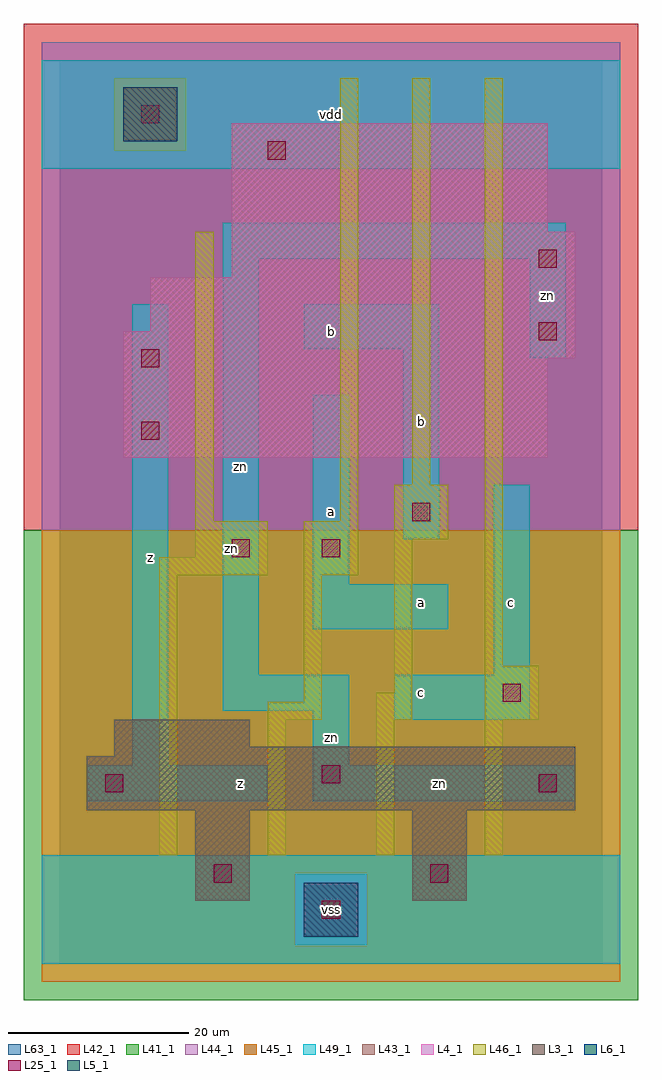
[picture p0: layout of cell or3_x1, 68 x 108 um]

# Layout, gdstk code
import gdstk
lib = gdstk.Library(unit=1e-6, precision=1e-09)
def R(c, l, rs):  # rectangles x0, y0, x1, y1
    for r in rs: c.add(gdstk.rectangle(r[:2], r[2:], *l))
def A(c, l, x, y, w, h, nx, ny, dx, dy):  # array of equal rectangles
    R(c, l, [(x+i*dx, y+j*dy, x+i*dx+w, y+j*dy+h) for i in range(nx) for j in range(ny)])
L3_1 = (3, 1)
L4_1 = (4, 1)
L5_1 = (5, 1)
L6_1 = (6, 1)
L25_1 = (25, 1)
L41_1 = (41, 1)
L42_1 = (42, 1)
L43_1 = (43, 1)
L44_1 = (44, 1)
L45_1 = (45, 1)
L46_1 = (46, 1)
L49_1 = (49, 1)
L63_1 = (63, 1)

or3_x1 = lib.new_cell('or3_x1')
R(or3_x1, L3_1, [(15,7,21,17), (39,7,45,17), (3,17,57,23), (6,23,57,24), (6,24,21,27)])
R(or3_x1, L4_1, [(7,56,54,67), (7,67,57,70), (10,70,57,76), (19,76,57,81), (19,81,54,93)])
R(or3_x1, L5_1, [(7,91,13,97)])
R(or3_x1, L6_1, [(27,3,33,9), (27,3,33,9)])
R(or3_x1, L25_1, [(29,5,31,7), (17,9,19,11), (41,9,43,11), (5,19,7,21), (53,19,55,21), (29,20,31,22), (49,29,51,31), (19,45,21,47), (29,45,31,47), (39,49,41,51), (9,58,11,60), (9,66,11,68), (53,69,55,71), (53,77,55,79), (23,89,25,91), (9,93,11,95)])
R(or3_x1, L41_1, [(-4,-4,64,48)])
R(or3_x1, L42_1, [(-4,48,64,104)])
R(or3_x1, L43_1, [(27,3,33,9), (15,7,21,17), (39,7,45,17), (3,17,57,23), (6,23,57,24), (6,24,21,27), (7,56,54,67), (7,67,57,70), (10,70,57,76), (19,76,57,81), (19,81,54,93), (7,91,13,97)])
R(or3_x1, L44_1, [(26,2,34,10), (-2,48,62,90), (-2,90,6,98), (14,90,62,98), (-2,98,62,102)])
R(or3_x1, L45_1, [(-2,-2,62,2), (-2,2,26,10), (34,2,62,10), (-2,10,62,48), (6,90,14,98)])
A(or3_x1, L46_1, 23, 12, 2, 15, 3, 1, 12, 0)
R(or3_x1, L46_1, [(11,12,13,43), (23,27,29,29), (35,27,39,30), (47,27,53,33), (27,29,29,43), (37,30,39,47), (47,33,49,98), (11,43,23,45), (27,43,33,49), (15,45,23,49), (37,47,43,53), (15,49,17,81), (31,49,33,98), (39,53,41,98)])
R(or3_x1, L49_1, [(-2,0,62,12), (3,18,23,22), (28,18,57,22), (8,22,12,73), (28,22,32,28), (37,27,52,32), (18,28,32,32), (18,32,22,78), (48,32,52,53), (28,37,43,42), (28,42,32,63), (38,47,42,68), (52,67,56,78), (27,68,42,73), (18,78,56,82), (-2,88,62,100)])
R(or3_x1, L63_1, [(0,0,60,100)])
or3_x1.add(gdstk.Label('zn', (19,46), layer=49, texttype=1))
or3_x1.add(gdstk.Label('z', (10,45), layer=49, texttype=1))
or3_x1.add(gdstk.Label('z', (20,20), layer=49, texttype=1))
or3_x1.add(gdstk.Label('zn', (20,55), layer=49, texttype=1))
or3_x1.add(gdstk.Label('vss', (30,6), layer=49, texttype=1))
or3_x1.add(gdstk.Label('zn', (30,25), layer=49, texttype=1))
or3_x1.add(gdstk.Label('a', (40,40), layer=49, texttype=1))
or3_x1.add(gdstk.Label('c', (40,30), layer=49, texttype=1))
or3_x1.add(gdstk.Label('a', (30,50), layer=49, texttype=1))
or3_x1.add(gdstk.Label('b', (30,70), layer=49, texttype=1))
or3_x1.add(gdstk.Label('b', (40,60), layer=49, texttype=1))
or3_x1.add(gdstk.Label('vdd', (30,94), layer=49, texttype=1))
or3_x1.add(gdstk.Label('zn', (42,20), layer=49, texttype=1))
or3_x1.add(gdstk.Label('c', (50,40), layer=49, texttype=1))
or3_x1.add(gdstk.Label('zn', (54,74), layer=49, texttype=1))

lib.write_gds('or3_x1.gds')
